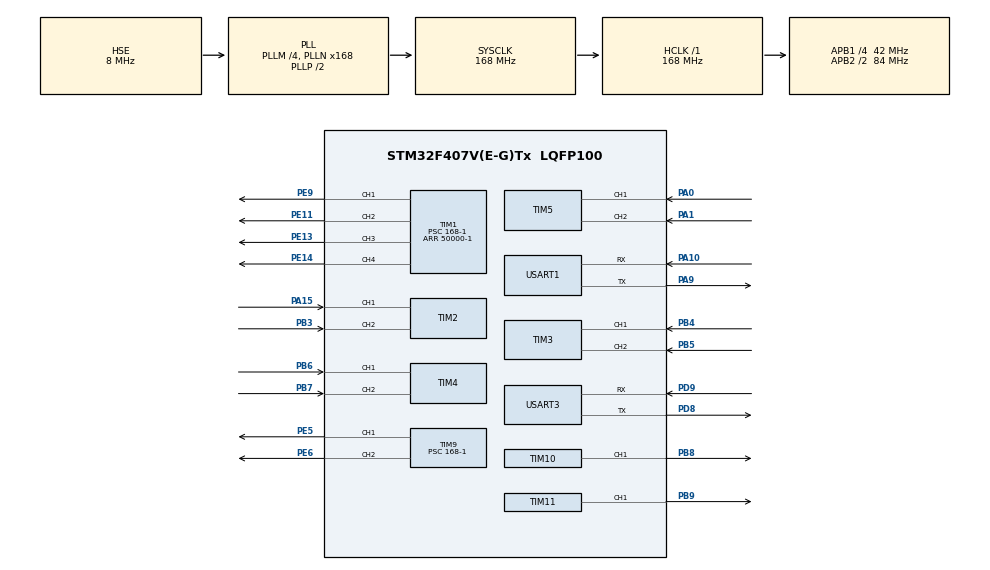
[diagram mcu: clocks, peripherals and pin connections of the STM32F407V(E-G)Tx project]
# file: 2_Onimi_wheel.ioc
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Dma.Request0=USART3_RX
Dma.Request1=USART3_TX
Dma.USART3_RX.0.Direction=DMA_PERIPH_TO_MEMORY
Dma.USART3_RX.0.FIFOMode=DMA_FIFOMODE_DISABLE
Dma.USART3_RX.0.Instance=DMA1_Stream1
Dma.USART3_RX.0.MemDataAlignment=DMA_MDATAALIGN_BYTE
Dma.USART3_RX.0.MemInc=DMA_MINC_ENABLE
Dma.USART3_RX.0.Mode=DMA_CIRCULAR
Dma.USART3_RX.0.PeriphDataAlignment=DMA_PDATAALIGN_BYTE
Dma.USART3_RX.0.PeriphInc=DMA_PINC_DISABLE
Dma.USART3_RX.0.Priority=DMA_PRIORITY_VERY_HIGH
Dma.USART3_TX.1.Direction=DMA_MEMORY_TO_PERIPH
Dma.USART3_TX.1.FIFOMode=DMA_FIFOMODE_DISABLE
Dma.USART3_TX.1.Instance=DMA1_Stream3
Dma.USART3_TX.1.MemDataAlignment=DMA_MDATAALIGN_BYTE
Dma.USART3_TX.1.MemInc=DMA_MINC_ENABLE
Dma.USART3_TX.1.Mode=DMA_NORMAL
Dma.USART3_TX.1.PeriphDataAlignment=DMA_PDATAALIGN_BYTE
Dma.USART3_TX.1.PeriphInc=DMA_PINC_DISABLE
Dma.USART3_TX.1.Priority=DMA_PRIORITY_VERY_HIGH
FREERTOS.Tasks01=defaultTask,24,3000,StartDefaultTask,Default,NULL,Dynamic,NULL,NULL;MotorTask,8,128,Motor_Task,Default,NULL,Dynamic,NULL,NULL
Mcu.Family=STM32F4
Mcu.Name=STM32F407V(E-G)Tx
Mcu.Package=LQFP100
NVIC.DMA1_Stream1_IRQn=true\:5\:0\:false\:false\:true\:true\:false\:true\:true
NVIC.DMA1_Stream3_IRQn=true\:5\:0\:false\:false\:true\:true\:false\:true\:true
NVIC.PriorityGroup=NVIC_PRIORITYGROUP_4
NVIC.TIM2_IRQn=true\:5\:0\:false\:false\:true\:true\:true\:true\:true
NVIC.TIM3_IRQn=true\:5\:0\:false\:false\:true\:true\:true\:true\:true
NVIC.TIM4_IRQn=true\:5\:0\:false\:false\:true\:true\:true\:true\:true
NVIC.TIM5_IRQn=true\:5\:0\:false\:false\:true\:true\:true\:true\:true
NVIC.TIM6_DAC_IRQn=true\:5\:0\:false\:false\:true\:true\:true\:true\:true
NVIC.TIM8_TRG_COM_TIM14_IRQn=true\:15\:0\:false\:false\:true\:false\:false\:true\:true
NVIC.TimeBase=TIM8_TRG_COM_TIM14_IRQn
NVIC.TimeBaseIP=TIM14
NVIC.USART3_IRQn=true\:5\:0\:false\:false\:true\:true\:true\:true\:true
PA0-WKUP.Signal=S_TIM5_CH1
PA1.Signal=S_TIM5_CH2
PA10.Mode=Asynchronous
PA10.Signal=USART1_RX
PA13.Mode=Serial_Wire
PA13.Signal=SYS_JTMS-SWDIO
PA14.Mode=Serial_Wire
PA14.Signal=SYS_JTCK-SWCLK
PA15.Signal=S_TIM2_CH1_ETR
PA9.Mode=Asynchronous
PA9.Signal=USART1_TX
PB3.Signal=S_TIM2_CH2
PB4.Signal=S_TIM3_CH1
PB5.Signal=S_TIM3_CH2
PB6.Signal=S_TIM4_CH1
PB7.Signal=S_TIM4_CH2
PB8.Signal=S_TIM10_CH1
PB9.Signal=S_TIM11_CH1
PD8.Mode=Asynchronous
PD8.Signal=USART3_TX
PD9.Mode=Asynchronous
PD9.Signal=USART3_RX
PE11.Signal=S_TIM1_CH2
PE13.Signal=S_TIM1_CH3
PE14.Signal=S_TIM1_CH4
PE5.Signal=S_TIM9_CH1
PE6.Signal=S_TIM9_CH2
PE9.Signal=S_TIM1_CH1
PH0-OSC_IN.Mode=HSE-External-Oscillator
PH0-OSC_IN.Signal=RCC_OSC_IN
PH1-OSC_OUT.Mode=HSE-External-Oscillator
PH1-OSC_OUT.Signal=RCC_OSC_OUT
ProjectManager.HeapSize=0x200
ProjectManager.StackSize=0x400
ProjectManager.TargetToolchain=Makefile
RCC.48MHZClocksFreq_Value=84000000
RCC.AHBFreq_Value=168000000
RCC.APB1CLKDivider=RCC_HCLK_DIV4
RCC.APB1Freq_Value=42000000
RCC.APB1TimFreq_Value=84000000
RCC.APB2CLKDivider=RCC_HCLK_DIV2
RCC.APB2Freq_Value=84000000
RCC.APB2TimFreq_Value=168000000
RCC.CortexFreq_Value=168000000
RCC.HCLKFreq_Value=168000000
RCC.HSE_VALUE=8000000
RCC.HSI_VALUE=16000000
RCC.LSE_VALUE=32768
RCC.PLLM=4
RCC.PLLN=168
RCC.PLLSourceVirtual=RCC_PLLSOURCE_HSE
RCC.SYSCLKFreq_VALUE=168000000
RCC.SYSCLKSource=RCC_SYSCLKSOURCE_PLLCLK
RCC.VCOOutputFreq_Value=336000000
SH.S_TIM10_CH1.0=TIM10_CH1,PWM Generation1 CH1
SH.S_TIM11_CH1.0=TIM11_CH1,PWM Generation1 CH1
SH.S_TIM1_CH1.0=TIM1_CH1,PWM Generation1 CH1
SH.S_TIM1_CH2.0=TIM1_CH2,PWM Generation2 CH2
SH.S_TIM1_CH3.0=TIM1_CH3,PWM Generation3 CH3
SH.S_TIM1_CH4.0=TIM1_CH4,PWM Generation4 CH4
SH.S_TIM2_CH1_ETR.0=TIM2_CH1,Encoder_Interface
SH.S_TIM2_CH2.0=TIM2_CH2,Encoder_Interface
SH.S_TIM3_CH1.0=TIM3_CH1,Encoder_Interface
SH.S_TIM3_CH2.0=TIM3_CH2,Encoder_Interface
SH.S_TIM4_CH1.0=TIM4_CH1,Encoder_Interface
SH.S_TIM4_CH2.0=TIM4_CH2,Encoder_Interface
SH.S_TIM5_CH1.0=TIM5_CH1,Encoder_Interface
SH.S_TIM5_CH2.0=TIM5_CH2,Encoder_Interface
SH.S_TIM9_CH1.0=TIM9_CH1,PWM Generation1 CH1
SH.S_TIM9_CH2.0=TIM9_CH2,PWM Generation2 CH2
TIM1.Channel-PWM\ Generation1\ CH1=TIM_CHANNEL_1
TIM1.Channel-PWM\ Generation2\ CH2=TIM_CHANNEL_2
TIM1.Channel-PWM\ Generation3\ CH3=TIM_CHANNEL_3
TIM1.Channel-PWM\ Generation4\ CH4=TIM_CHANNEL_4
TIM1.Period=50000-1
TIM1.Prescaler=168-1
TIM10.Channel=TIM_CHANNEL_1
TIM10.Period=50000-1
TIM10.Prescaler=168-1
TIM11.Channel=TIM_CHANNEL_1
TIM11.Period=50000-1
TIM11.Prescaler=168-1
TIM2.EncoderMode=TIM_ENCODERMODE_TI12
TIM3.EncoderMode=TIM_ENCODERMODE_TI12
TIM4.EncoderMode=TIM_ENCODERMODE_TI12
TIM5.EncoderMode=TIM_ENCODERMODE_TI12
TIM6.Period=5000-1
TIM6.Prescaler=168-1
TIM9.Channel-PWM\ Generation1\ CH1=TIM_CHANNEL_1
TIM9.Channel-PWM\ Generation2\ CH2=TIM_CHANNEL_2
TIM9.Period=50000-1
TIM9.Prescaler=168-1
USART1.VirtualMode=VM_ASYNC
USART3.VirtualMode=VM_ASYNC
VP_FREERTOS_VS_CMSIS_V2.Mode=CMSIS_V2
VP_SYS_VS_tim14.Mode=TIM14
VP_TIM10_VS_ClockSourceINT.Mode=Enable_Timer
VP_TIM11_VS_ClockSourceINT.Mode=Enable_Timer
VP_TIM1_VS_ClockSourceINT.Mode=Internal
VP_TIM6_VS_ClockSourceINT.Mode=Enable_Timer
VP_TIM9_VS_ClockSourceINT.Mode=Internal
board=custom

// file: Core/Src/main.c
/* USER CODE BEGIN Header */
/**
 ******************************************************************************
 * @file           : main.c
 * @brief          : Main program body
 ******************************************************************************
 * @attention
 *
 * Copyright (c) 2023 STMicroelectronics.
 * All rights reserved.
 *
 * This software is licensed under terms that can be found in the LICENSE file
 * in the root directory of this software component.
 * If no LICENSE file comes with this software, it is provided AS-IS.
 *
 ******************************************************************************
 */
/* USER CODE END Header */
#include "main.h"
#include "cmsis_os.h"
#include "dma.h"
#include "tim.h"
#include "usart.h"
#include "gpio.h"

/* USER CODE BEGIN Includes */
#include "chassis.h"
#include <stdio.h>
/* USER CODE END Includes */

void SystemClock_Config(void);
void MX_FREERTOS_Init(void);

int main(void)
{

    /* MCU Configuration--------------------------------------------------------*/

    /* Reset of all peripherals, Initializes the Flash interface and the Systick. */
    HAL_Init();

    /* Configure the system clock */
    SystemClock_Config();

    /* Initialize all configured peripherals */
    MX_GPIO_Init();
    MX_DMA_Init();
    MX_TIM1_Init();
    MX_TIM2_Init();
    MX_TIM3_Init();
    MX_TIM4_Init();
    MX_TIM5_Init();
    MX_TIM6_Init();
    MX_TIM9_Init();
    MX_TIM10_Init();
    MX_TIM11_Init();
    MX_USART1_UART_Init();
    MX_USART3_UART_Init();
    /* USER CODE BEGIN 2 */
    Motor_Init(&motor1, 1, 90, 1, 0.1);
    Motor_Init(&motor2, 2, 90, 1, 0.1);
    Motor_Init(&motor4, 4, 90, 1, 0.1);
    Motor_Start(&motor1);
    Motor_Start(&motor2);
    Motor_Start(&motor4);
    /* USER CODE END 2 */

    /* Init scheduler */
    osKernelInitialize(); /* Call init function for freertos objects (in freertos.c) */
    MX_FREERTOS_Init();

    /* Start scheduler */
    osKernelStart();

    /* We should never get here as control is now taken by the scheduler */
    /* Infinite loop */
    while (1) {

    }
}

void SystemClock_Config(void)
{
    RCC_OscInitTypeDef RCC_OscInitStruct = {0};
    RCC_ClkInitTypeDef RCC_ClkInitStruct = {0};

    /** Configure the main internal regulator output voltage
     */
    __HAL_RCC_PWR_CLK_ENABLE();
    __HAL_PWR_VOLTAGESCALING_CONFIG(PWR_REGULATOR_VOLTAGE_SCALE1);

    /** Initializes the RCC Oscillators according to the specified parameters
     * in the RCC_OscInitTypeDef structure.
     */
    RCC_OscInitStruct.OscillatorType = RCC_OSCILLATORTYPE_HSE;
    RCC_OscInitStruct.HSEState       = RCC_HSE_ON;
    RCC_OscInitStruct.PLL.PLLState   = RCC_PLL_ON;
    RCC_OscInitStruct.PLL.PLLSource  = RCC_PLLSOURCE_HSE;
    RCC_OscInitStruct.PLL.PLLM       = 4;
    RCC_OscInitStruct.PLL.PLLN       = 168;
    RCC_OscInitStruct.PLL.PLLP       = RCC_PLLP_DIV2;
    RCC_OscInitStruct.PLL.PLLQ       = 4;
    if (HAL_RCC_OscConfig(&RCC_OscInitStruct) != HAL_OK) {
        Error_Handler();
    }

    /** Initializes the CPU, AHB and APB buses clocks
     */
    RCC_ClkInitStruct.ClockType      = RCC_CLOCKTYPE_HCLK | RCC_CLOCKTYPE_SYSCLK | RCC_CLOCKTYPE_PCLK1 | RCC_CLOCKTYPE_PCLK2;
    RCC_ClkInitStruct.SYSCLKSource   = RCC_SYSCLKSOURCE_PLLCLK;
    RCC_ClkInitStruct.AHBCLKDivider  = RCC_SYSCLK_DIV1;
    RCC_ClkInitStruct.APB1CLKDivider = RCC_HCLK_DIV4;
    RCC_ClkInitStruct.APB2CLKDivider = RCC_HCLK_DIV2;

    if (HAL_RCC_ClockConfig(&RCC_ClkInitStruct, FLASH_LATENCY_5) != HAL_OK) {
        Error_Handler();
    }
}

void Error_Handler(void)
{
    __disable_irq();
    while (1) {
    }
}

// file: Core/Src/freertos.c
/* USER CODE BEGIN Header */
/**
 ******************************************************************************
 * File Name          : freertos.c
 * Description        : Code for freertos applications
 ******************************************************************************
 * @attention
 *
 * Copyright (c) 2023 STMicroelectronics.
 * All rights reserved.
 *
 * This software is licensed under terms that can be found in the LICENSE file
 * in the root directory of this software component.
 * If no LICENSE file comes with this software, it is provided AS-IS.
 *
 ******************************************************************************
 */
/* USER CODE END Header */

#include "FreeRTOS.h"
#include "task.h"
#include "main.h"
#include "cmsis_os.h"

/* USER CODE BEGIN Includes */
#include "chassis.h"
#include <rcl/rcl.h>
#include <rcl/error_handling.h>
#include <rclc/rclc.h>
#include <rclc/executor.h>
#include <uxr/client/transport.h>
#include <rmw_microxrcedds_c/config.h>
#include <rmw_microros/rmw_microros.h>

#include <std_msgs/msg/float32_multi_array.h>
#include "usart.h"
#include <stdio.h>
/* USER CODE END Includes */

/* USER CODE BEGIN PTD */
typedef struct Chassis {
    float v_x;
    float v_y;
    float w_c;
} Chassis;
/* USER CODE END PTD */

/* USER CODE BEGIN Variables */
Chassis onimi_chassis;

rcl_publisher_t publisher;
std_msgs__msg__Float32MultiArray msg;
rclc_support_t support;
rcl_allocator_t allocator;
rcl_node_t node;
rclc_executor_t executor;
rcl_timer_t timer;
float chassis[3];
/* USER CODE END Variables */
/* Definitions for defaultTask */
osThreadId_t defaultTaskHandle;
const osThreadAttr_t defaultTask_attributes = {
    .name       = "defaultTask",
    .stack_size = 3000 * 4,
    .priority   = (osPriority_t)osPriorityNormal,
};
/* Definitions for MotorTask */
osThreadId_t MotorTaskHandle;
const osThreadAttr_t MotorTask_attributes = {
    .name       = "MotorTask",
    .stack_size = 128 * 4,
    .priority   = (osPriority_t)osPriorityLow,
};

/* USER CODE BEGIN FunctionPrototypes */
bool cubemx_transport_open(struct uxrCustomTransport *transport);
bool cubemx_transport_close(struct uxrCustomTransport *transport);
size_t cubemx_transport_write(struct uxrCustomTransport *transport, const uint8_t *buf, size_t len, uint8_t *err);
size_t cubemx_transport_read(struct uxrCustomTransport *transport, uint8_t *buf, size_t len, int timeout, uint8_t *err);

void *microros_allocate(size_t size, void *state);
void microros_deallocate(void *pointer, void *state);
void *microros_reallocate(void *pointer, size_t size, void *state);
void *microros_zero_allocate(size_t number_of_elements, size_t size_of_element, void *state);
void timer_callback(rcl_timer_t *timer, int64_t last_call_time);
/* USER CODE END FunctionPrototypes */

void StartDefaultTask(void *argument);
void Motor_Task(void *argument);

void MX_FREERTOS_Init(void); /* (MISRA C 2004 rule 8.1) */

void MX_FREERTOS_Init(void)
{

    /* Create the thread(s) */
    /* creation of defaultTask */
    defaultTaskHandle = osThreadNew(StartDefaultTask, NULL, &defaultTask_attributes);

    /* creation of MotorTask */
    MotorTaskHandle = osThreadNew(Motor_Task, NULL, &MotorTask_attributes);

}

void StartDefaultTask(void *argument)
{
    /* USER CODE BEGIN 5 */

    // micro-ROS configuration

    rmw_uros_set_custom_transport(
        true,
        (void *)&huart3,
        cubemx_transport_open,
        cubemx_transport_close,
        cubemx_transport_write,
        cubemx_transport_read);

    rcl_allocator_t freeRTOS_allocator = rcutils_get_zero_initialized_allocator();
    freeRTOS_allocator.allocate        = microros_allocate;
    freeRTOS_allocator.deallocate      = microros_deallocate;
    freeRTOS_allocator.reallocate      = microros_reallocate;
    freeRTOS_allocator.zero_allocate   = microros_zero_allocate;

    if (!rcutils_set_default_allocator(&freeRTOS_allocator)) {
        printf("Error on default allocators (line %d)\n", __LINE__);
    }

    // micro-ROS app

    allocator = rcl_get_default_allocator();

    // create init_options
    rclc_support_init(&support, 0, NULL, &allocator);

    // create node
    rclc_node_init_default(&node, "cubemx_node", "", &support);

    // create publisher
    rclc_publisher_init_default(
        &publisher,
        &node,
        ROSIDL_GET_MSG_TYPE_SUPPORT(std_msgs, msg, Float32MultiArray),
        "chassis");

    // create timer
    rclc_timer_init_default(
        &timer,
        &support,
        RCL_MS_TO_NS(100),
        timer_callback);

    // create executor
    executor = rclc_executor_get_zero_initialized_executor();
    rclc_executor_init(&executor, &support.context, 2, &allocator);

    // add timer to executor
    rclc_executor_add_timer(&executor, &timer);
    osDelay(300);

    msg.data.capacity = 3;
    msg.data.size     = 3;
    msg.data.data = chassis;

    // spin
    rclc_executor_spin(&executor);
    for (;;) {

    }
    /* USER CODE END 5 */
}

void Motor_Task(void *argument)
{
    /* USER CODE BEGIN Motor_Task */
    Inverse_kinematic_equation(0, 0.1, 0);
    /* Infinite loop */
    for (;;) {
        Forward_kinematic_equation(&(onimi_chassis.v_x), &(onimi_chassis.v_y), &(onimi_chassis.w_c));
        osDelay(10);
    }
    /* USER CODE END Motor_Task */
}

/* USER CODE BEGIN Application */
/**
 * @brief   ROS2定时器回调函数
 */
void timer_callback(rcl_timer_t *timer, int64_t last_call_time)
{
    chassis[0]    = onimi_chassis.v_x;
    chassis[1]    = onimi_chassis.v_y;
    chassis[2]    = onimi_chassis.w_c;
    rcl_ret_t ret = rcl_publish(&publisher, &msg, NULL);
    if (ret != RCL_RET_OK) {
        printf("Error publishing (line %d)\n", __LINE__);
    }
}
/* USER CODE END Application */
